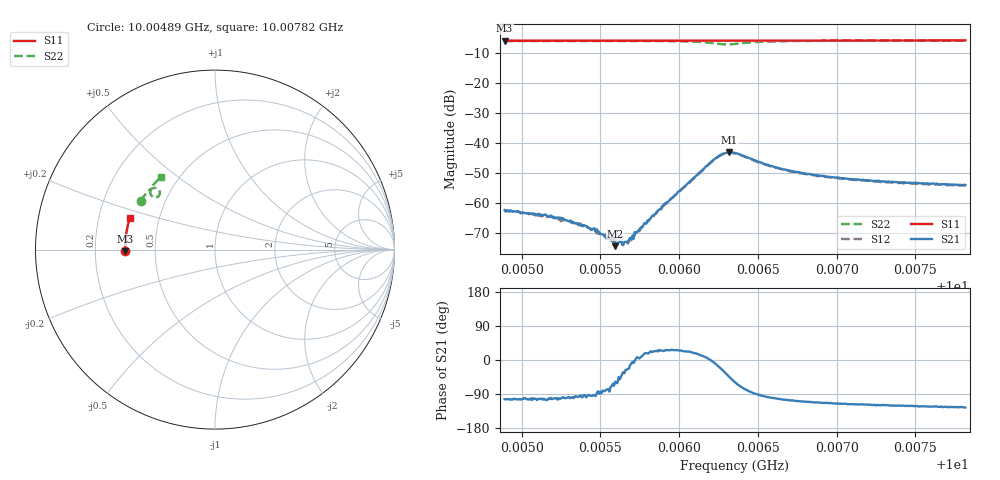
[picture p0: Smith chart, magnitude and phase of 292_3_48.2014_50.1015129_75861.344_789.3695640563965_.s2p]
#  HZ  S  RI  R  50.00
! Rohde & Schwarz Vector Network Analyzer
! Rohde-Schwarz,ZNB20-2Port,1311601062101988,3.16
! Created: UTC 3/20/2024, 11:49:08 AM
! freq[Hz]  re:S11  im:S11  re:S21  im:S21  re:S12  im:S12  re:S22  im:S22
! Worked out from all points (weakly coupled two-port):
!   401 points, 10.00489 GHz to 10.00782 GHz, reference 50 ohm
!   highest |S21| = -43.09 dB at 10.00632 GHz (marker M1); lowest = -74.3 dB at 10.00559 GHz (marker M2)
!   lowest |S11| = -6.0 dB at 10.00489 GHz (marker M3), VSWR 2.99, Z = 16.7 - j0.413 ohm
!   |S11| at or under -10 dB: nowhere
!   |S22| runs from -7.3 to -6.0 dB; largest |S21 - S12| = 0.0004
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1.0004891e10  -0.4993 -0.00928  -0.000178 -0.000748  -0.000141 -0.000735  -0.413 0.2716
1.000514e10  -0.4999 0.00686  -0.000135 -0.000622  -0.00013 -0.000625  -0.4038 0.2863
1.000525e10  -0.4999 0.0141  -0.00011 -0.000563  -6.67e-05 -0.000497  -0.3995 0.2929
1.0005301e10  -0.4999 0.0174  -6.93e-05 -0.000498  -6.42e-05 -0.000497  -0.3974 0.2957
1.0005381e10  -0.4998 0.0226  -6.3e-05 -0.00041  -3.21e-05 -0.000427  -0.394 0.3007
1.0005469e10  -0.4999 0.0284  -3.06e-05 -0.000334  5.02e-05 -0.000356  -0.39 0.306
1.000555e10  -0.4997 0.0336  5.94e-05 -0.000245  8.72e-05 -0.000246  -0.3861 0.3111
1.0005571e10  -0.4996 0.0349  9.4e-05 -0.000241  8.24e-05 -0.00023  -0.3852 0.3124
1.0005593e10  -0.4996 0.0365  0.000104 -0.000162  0.000131 -0.000206  -0.3839 0.3136
1.0005608e10  -0.4994 0.0373  0.000105 -0.000182  0.000139 -0.000201  -0.3832 0.3145
1.000563e10  -0.4993 0.0387  0.00017 -0.000171  0.000189 -0.000145  -0.382 0.3159
1.0005659e10  -0.4994 0.0408  0.000204 -0.000101  0.000202 -0.000115  -0.3804 0.3177
1.0005689e10  -0.4991 0.0425  0.000259 -5.97e-05  0.000271 -4.71e-05  -0.3787 0.3195
1.0005871e10  -0.4984 0.0544  0.000692 0.000346  0.000658 0.000348  -0.3663 0.3314
1.0006215e10  -0.4958 0.0767  0.00516 -0.000452  0.00505 -0.0002  -0.312 0.3308
1.0006267e10  -0.4952 0.0798  0.00586 -0.00256  0.00586 -0.00221  -0.3076 0.3118
1.0006318e10  -0.4947 0.0827  0.005 -0.00492  0.00508 -0.00456  -0.3195 0.2939
1.0006354e10  -0.4946 0.0849  0.00352 -0.00582  0.00377 -0.00554  -0.3336 0.2901
1.000661e10  -0.4924 0.1014  -0.00077 -0.00388  -0.000605 -0.00383  -0.3593 0.3305
1.0006845e10  -0.4897 0.1163  -0.00106 -0.00277  -0.00095 -0.00277  -0.349 0.3525
1.0007335e10  -0.4824 0.1469  -0.00112 -0.00197  -0.00101 -0.00197  -0.3246 0.3815
1.0007818e10  -0.4734 0.1767  -0.00116 -0.00163  -0.00106 -0.00163  -0.2999 0.404
